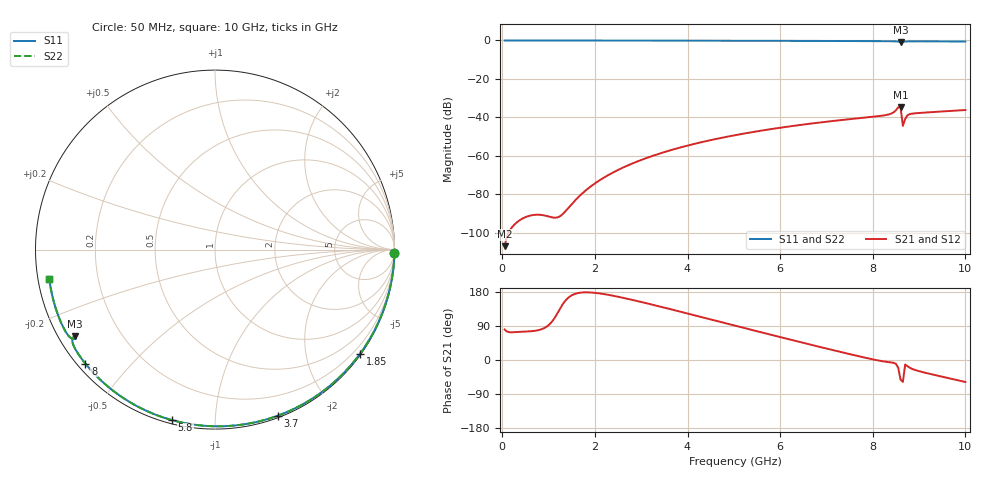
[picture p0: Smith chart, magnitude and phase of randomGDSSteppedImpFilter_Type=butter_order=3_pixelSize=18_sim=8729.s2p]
! freq	dB(S11)	phase(S11)	dB(S12)	phase(S12)
!  dB(S21)	phase(S21)	dB(S22)	phase(S22)
!S-par simulation data
#  GHz  S  DB  R 50
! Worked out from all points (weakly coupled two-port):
!   200 points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, 50 MHz to 10 GHz, reference 50 ohm
!   highest |S21| = -34.70 dB at 8.6 GHz (marker M1); lowest = -106.9 dB at 50 MHz (marker M2)
!   lowest |S11| = -0.8 dB at 8.6 GHz (marker M3), VSWR 22.78, Z = 2.37 - j14.1 ohm
!   |S11| at or under -10 dB: nowhere
!   |S22| runs from -0.8 to 0.0 dB; largest |S21 - S12| = 0
!   S11 on the Smith chart (normalised r, x): 50 MHz: open; 1.85 GHz: 0.03, -3.11; 3.7 GHz: 0.02, -1.45; 5.8 GHz: 0.02, -0.78; 8 GHz: 0.02, -0.38; 10 GHz: 0.03, -0.09
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0.05  -0.00 -1.0  -106.91 80.4  -106.91 80.4  -0.00 -1.0
0.85  -0.02 -16.6  -90.71 81.3  -90.71 81.3  -0.02 -16.6
1.7  -0.04 -32.8  -80.09 177.8  -80.09 177.8  -0.04 -32.8
1.75  -0.04 -33.7  -79.00 178.4  -79.00 178.4  -0.04 -33.8
1.85  -0.05 -35.6  -76.99 178.5  -76.99 178.5  -0.05 -35.6
2.15  -0.05 -41.2  -71.93 174.8  -71.93 174.8  -0.05 -41.2
2.5  -0.06 -47.7  -67.29 166.9  -67.29 166.9  -0.06 -47.7
3.4  -0.08 -63.9  -58.76 141.2  -58.76 141.2  -0.08 -63.9
3.7  -0.09 -69.2  -56.59 132.0  -56.59 132.0  -0.09 -69.2
5.05  -0.14 -92.0  -49.13 89.9  -49.13 89.9  -0.14 -92.0
5.8  -0.18 -104.1  -46.08 66.6  -46.08 66.6  -0.18 -104.1
6.7  -0.23 -118.3  -43.10 39.2  -43.10 39.2  -0.23 -118.4
8  -0.34 -138.6  -39.66 1.7  -39.66 1.7  -0.34 -138.7
8.35  -0.39 -144.4  -38.42 -5.7  -38.42 -5.7  -0.39 -144.4
8.45  -0.44 -146.2  -37.37 -7.3  -37.37 -7.3  -0.44 -146.3
8.55  -0.58 -148.1  -34.73 -20.9  -34.73 -20.9  -0.58 -148.2
8.6  -0.76 -148.4  -34.70 -51.8  -34.70 -51.8  -0.76 -148.4
8.65  -0.73 -147.4  -44.39 -57.8  -44.39 -57.8  -0.73 -147.4
8.7  -0.56 -147.9  -40.83 -11.9  -40.83 -11.9  -0.56 -147.9
8.75  -0.49 -148.9  -38.84 -16.3  -38.84 -16.3  -0.49 -149.0
8.8  -0.46 -149.9  -38.27 -20.6  -38.27 -20.6  -0.46 -149.9
10  -0.56 -169.9  -36.16 -58.0  -36.16 -58.0  -0.56 -169.9
